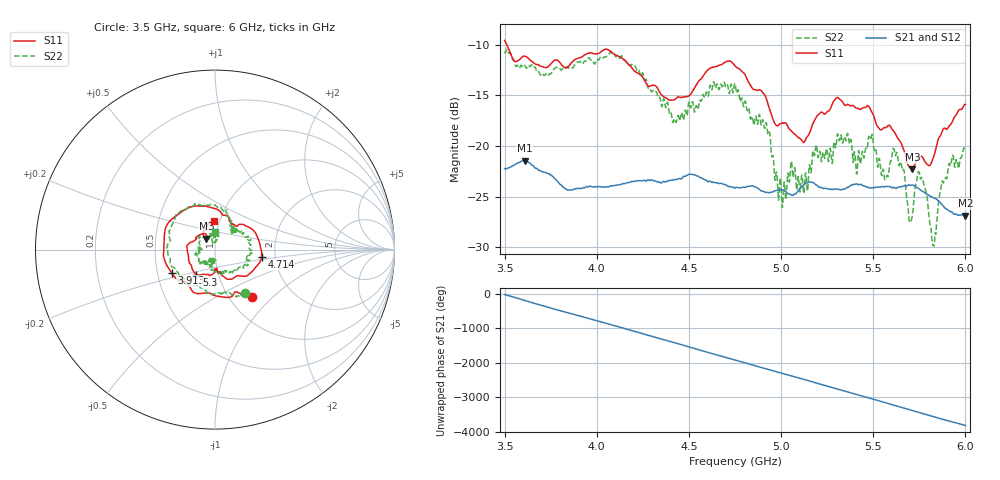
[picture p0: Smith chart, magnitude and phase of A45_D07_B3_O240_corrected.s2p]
! Created with skrf 1.9.0 (http://scikit-rf.org).
# Hz S RI R 50.0
!freq ReS11 ImS11 ReS21 ImS21 ReS12 ImS12 ReS22 ImS22
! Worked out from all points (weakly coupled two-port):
!   1601 points, 3.5 GHz to 6 GHz, reference 50 ohm
!   highest |S21| = -21.42 dB at 3.609 GHz (marker M1); lowest = -26.8 dB at 6 GHz (marker M2)
!   lowest |S11| = -22.3 dB at 5.713 GHz (marker M3), VSWR 1.17, Z = 45.1 + j5.45 ohm
!   |S11| at or under -10 dB: 3.513 GHz to end of sweep
!   |S22| runs from -29.9 to -10.5 dB; largest |S21 - S12| = 0.0009
!   S11 on the Smith chart (normalised r, x): 3.5 GHz: 1.27, -0.75; 3.913 GHz: 0.59, -0.17; 4.714 GHz: 1.69, -0.15; 5.3 GHz: 0.78, -0.22; 6 GHz: 0.94, +0.31
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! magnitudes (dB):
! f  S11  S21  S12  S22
! 3.5 GHz  -9.6  -22.2  -22.2  -10.7
! 3.609 GHz  -11.1  -21.4  -21.4  -12.0
! 3.913 GHz  -11.2  -24.2  -24.2  -11.7
! 3.917 GHz  -11.2  -24.2  -24.2  -11.8
! 4.084 GHz  -10.8  -23.9  -23.9  -10.8
! 4.334 GHz  -14.4  -23.5  -23.5  -15.2
! 4.422 GHz  -15.4  -23.3  -23.3  -17.3
! 4.714 GHz  -11.6  -24.0  -24.0  -14.4
! 4.75 GHz  -12.1  -24.1  -24.1  -13.9
! 4.928 GHz  -15.8  -24.6  -24.6  -18.8
! 4.997 GHz  -17.8  -24.3  -24.3  -23.2
! 5.167 GHz  -18.0  -23.6  -23.5  -21.7
! 5.3 GHz  -15.2  -24.2  -24.2  -19.7
! 5.417 GHz  -16.3  -23.8  -23.8  -21.1
! 5.486 GHz  -16.4  -24.1  -24.1  -19.4
! 5.584 GHz  -17.9  -24.0  -24.0  -22.5
! 5.62 GHz  -18.8  -24.1  -24.1  -20.9
! 5.713 GHz  -22.3  -23.8  -23.8  -26.8
! 5.755 GHz  -21.0  -24.3  -24.3  -23.0
! 5.828 GHz  -21.0  -25.1  -25.1  -29.9
! 5.875 GHz  -18.5  -25.8  -25.8  -23.4
! 6 GHz  -15.9  -26.8  -26.8  -20.1
